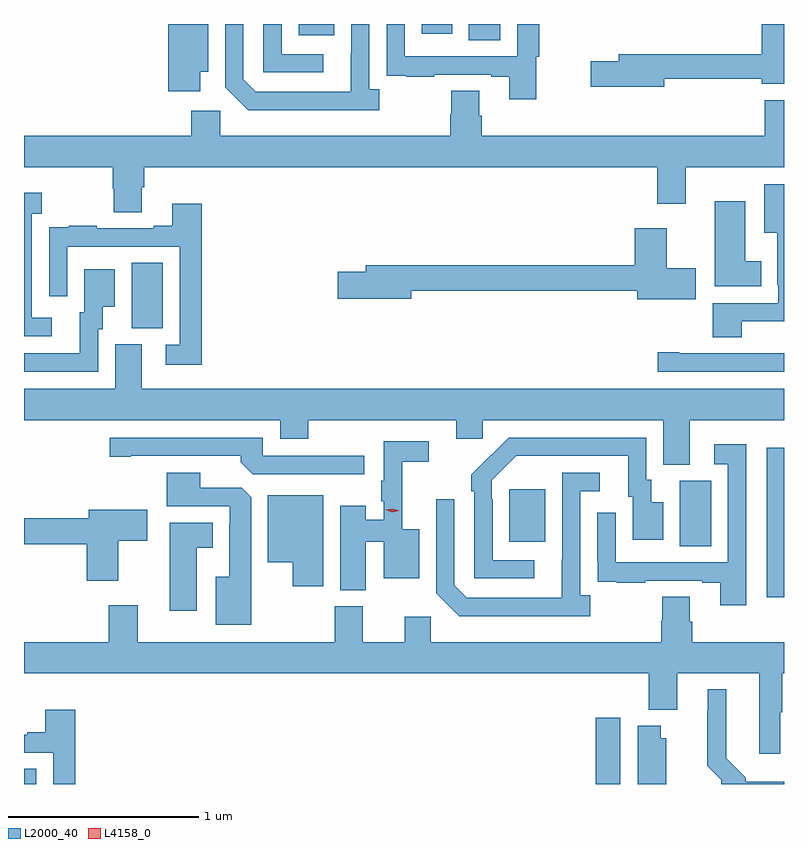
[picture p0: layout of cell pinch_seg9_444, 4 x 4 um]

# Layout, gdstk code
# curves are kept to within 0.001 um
import gdstk
lib = gdstk.Library(unit=1e-6, precision=1e-09)
def R(c, l, rs):  # rectangles x0, y0, x1, y1
    for r in rs: c.add(gdstk.rectangle(r[:2], r[2:], *l))
def P(c, l, *ps):  # polygons
    for p in ps: c.add(gdstk.Polygon(p, *l))
L2000_40 = (2000, 40)
L4158_0 = (4158, 0)

pinch_seg9_444 = lib.new_cell('pinch_seg9_444')
R(pinch_seg9_444, L2000_40, [(156.582,1198.501,156.646,1198.58), (159.59,1198.501,159.721,1198.849), (160.49,1199.484,160.582,1200.271), (160.034,1199.752,160.198,1200.096), (159.137,1199.777,159.325,1200.052), (157.148,1200.901,157.312,1201.244), (158.924,1202.416,159.088,1202.501), (158.027,1202.441,158.215,1202.501), (158.675,1202.451,158.836,1202.501)])
P(pinch_seg9_444, L2000_40, [(157.51,1202.249),(157.552,1202.249),(157.552,1202.501),(157.345,1202.501),(157.345,1202.496),(157.34,1202.496),(157.34,1202.148),(157.51,1202.148)],
  [(158.158,1202.343),(157.938,1202.343),(157.938,1202.501),(157.842,1202.501),(157.842,1202.247),(158.158,1202.247)],
  [(158.452,1202.158),(158.4,1202.158),(158.4,1202.501),(158.304,1202.501),(158.303,1202.145),(157.803,1202.145),(157.737,1202.211),(157.737,1202.501),(157.641,1202.501),(157.641,1202.169),(157.762,1202.048),(158.452,1202.048)],
  [(159.952,1202.214),(160.466,1202.214),(160.466,1202.186),(160.582,1202.186),(160.582,1202.501),(160.466,1202.501),(160.466,1202.342),(159.713,1202.342),(159.713,1202.306),(159.564,1202.306),(159.564,1202.171),(159.952,1202.171)],
  [(159.278,1202.328),(159.293,1202.328),(159.293,1202.501),(159.177,1202.501),(159.177,1202.331),(158.586,1202.331),(158.586,1202.501),(158.49,1202.501),(158.49,1202.338),(158.491,1202.338),(158.491,1202.229),(158.593,1202.229),(158.593,1202.223),(158.741,1202.223),(158.741,1202.235),(159.041,1202.235),(159.041,1202.223),(159.137,1202.223),(159.137,1202.106),(159.278,1202.106)],
  [(158.99,1202.018),(158.977,1202.018),(158.977,1202.15),(158.83,1202.15),(158.83,1202.025),(158.825,1202.025),(158.825,1201.912),(157.614,1201.912),(157.614,1202.044),(157.463,1202.044),(157.463,1201.912),(156.582,1201.912),(156.582,1201.748),(157.049,1201.748),(157.049,1201.635),(157.054,1201.635),(157.054,1201.51),(157.201,1201.51),(157.201,1201.642),(157.214,1201.642),(157.214,1201.748),(159.914,1201.748),(159.914,1201.554),(160.066,1201.554),(160.066,1201.748),(160.582,1201.748),(160.582,1202.101),(160.481,1202.101),(160.481,1201.912),(158.99,1201.912)],
  [(160.36,1200.936),(160.582,1200.936),(160.582,1201.657),(160.478,1201.657),(160.478,1201.403),(160.547,1201.403),(160.547,1201.129),(160.551,1201.129),(160.551,1201.032),(160.208,1201.032),(160.208,1200.853),(160.36,1200.853)],
  [(156.727,1200.954),(156.624,1200.954),(156.624,1201.502),(156.676,1201.502),(156.676,1201.612),(156.582,1201.612),(156.582,1200.858),(156.727,1200.858)],
  [(160.462,1201.252),(160.378,1201.252),(160.378,1201.567),(160.217,1201.567),(160.217,1201.121),(160.462,1201.121)],
  [(157.517,1201.555),(157.361,1201.555),(157.361,1201.438),(157.265,1201.438),(157.265,1201.425),(156.965,1201.425),(156.965,1201.438),(156.817,1201.438),(156.817,1201.431),(156.715,1201.431),(156.715,1201.322),(156.714,1201.322),(156.714,1201.068),(156.81,1201.068),(156.81,1201.329),(157.401,1201.329),(157.401,1200.813),(157.329,1200.813),(157.329,1200.708),(157.517,1200.708)],
  [(160.117,1201.215),(159.964,1201.215),(159.964,1201.426),(159.797,1201.426),(159.797,1201.232),(158.381,1201.232),(158.381,1201.196),(158.232,1201.196),(158.232,1201.054),(158.62,1201.054),(158.62,1201.096),(159.809,1201.096),(159.809,1201.052),(160.117,1201.052)],
  [(156.972,1200.894),(156.997,1200.894),(156.997,1201.013),(157.06,1201.013),(157.06,1201.21),(156.899,1201.21),(156.899,1200.984),(156.875,1200.984),(156.875,1200.768),(156.582,1200.768),(156.582,1200.672),(156.972,1200.672)],
  [(160.087,1200.416),(160.582,1200.416),(160.582,1200.58),(157.201,1200.58),(157.201,1200.816),(157.061,1200.816),(157.061,1200.58),(156.582,1200.58),(156.582,1200.416),(157.931,1200.416),(157.931,1200.317),(158.079,1200.317),(158.079,1200.416),(158.858,1200.416),(158.858,1200.318),(158.997,1200.318),(158.997,1200.416),(159.947,1200.416),(159.947,1200.181),(160.087,1200.181)],
  [(160.582,1200.768),(160.03,1200.768),(160.03,1200.773),(159.918,1200.773),(159.918,1200.672),(160.582,1200.672)],
  [(159.268,1199.679),(159.048,1199.679),(159.048,1199.999),(159.045,1199.999),(159.045,1200.099),(159.174,1200.228),(159.761,1200.228),(159.761,1200.012),(159.785,1200.012),(159.785,1199.787),(159.946,1199.787),(159.946,1199.983),(159.883,1199.983),(159.883,1200.102),(159.858,1200.102),(159.858,1200.324),(159.134,1200.324),(158.937,1200.129),(158.937,1200.041),(158.952,1200.041),(158.952,1199.583),(159.268,1199.583)],
  [(158.374,1200.228),(157.839,1200.228),(157.839,1200.324),(157.032,1200.324),(157.032,1200.223),(157.144,1200.223),(157.144,1200.228),(157.724,1200.228),(157.724,1200.194),(157.785,1200.132),(158.374,1200.132)],
  [(158.38,1199.776),(158.475,1199.776),(158.475,1199.585),(158.662,1199.585),(158.662,1199.842),(158.573,1199.842),(158.573,1200.198),(158.713,1200.198),(158.713,1200.306),(158.475,1200.306),(158.475,1200.096),(158.463,1200.096),(158.463,1199.989),(158.475,1199.989),(158.475,1199.893),(158.38,1199.893),(158.38,1199.965),(158.246,1199.965),(158.246,1199.521),(158.38,1199.521)],
  [(160.383,1200.289),(160.215,1200.289),(160.215,1200.183),(160.287,1200.183),(160.287,1199.667),(159.696,1199.667),(159.696,1199.929),(159.6,1199.929),(159.6,1199.674),(159.601,1199.674),(159.601,1199.565),(159.703,1199.565),(159.703,1199.559),(159.851,1199.559),(159.851,1199.571),(160.151,1199.571),(160.151,1199.559),(160.247,1199.559),(160.247,1199.442),(160.383,1199.442)],
  [(157.777,1200.011),(157.728,1200.06),(157.51,1200.06),(157.51,1200.139),(157.334,1200.139),(157.334,1199.964),(157.665,1199.964),(157.665,1199.867),(157.661,1199.867),(157.661,1199.593),(157.592,1199.593),(157.592,1199.339),(157.777,1199.339)],
  [(159.562,1199.494),(159.51,1199.494),(159.51,1200.042),(159.613,1200.042),(159.613,1200.138),(159.414,1200.138),(159.413,1199.481),(158.913,1199.481),(158.847,1199.547),(158.847,1200.001),(158.751,1200.001),(158.751,1199.505),(158.872,1199.384),(159.562,1199.384)],
  [(158.158,1200.022),(157.865,1200.022),(157.865,1199.669),(157.997,1199.669),(157.997,1199.541),(158.158,1199.541)],
  [(157.078,1199.782),(157.231,1199.782),(157.231,1199.944),(156.923,1199.944),(156.923,1199.9),(156.582,1199.9),(156.582,1199.764),(156.911,1199.764),(156.911,1199.571),(157.078,1199.571)],
  [(157.492,1199.744),(157.576,1199.744),(157.576,1199.875),(157.349,1199.875),(157.349,1199.412),(157.492,1199.412)],
  [(160.561,1198.879),(160.574,1198.879),(160.574,1199.084),(160.582,1199.084),(160.582,1199.248),(160.1,1199.248),(160.1,1199.354),(160.087,1199.354),(160.087,1199.486),(159.94,1199.486),(159.94,1199.361),(159.935,1199.361),(159.935,1199.248),(158.724,1199.248),(158.724,1199.38),(158.585,1199.38),(158.585,1199.248),(158.365,1199.248),(158.365,1199.436),(158.218,1199.436),(158.218,1199.248),(157.18,1199.248),(157.18,1199.443),(157.028,1199.443),(157.028,1199.248),(156.582,1199.248),(156.582,1199.084),(159.869,1199.084),(159.869,1198.892),(160.021,1198.892),(160.021,1199.084),(160.451,1199.084),(160.451,1198.659),(160.561,1198.659)],
  [(160.582,1198.513),(160.38,1198.513),(160.38,1198.534),(160.279,1198.636),(160.279,1198.999),(160.181,1198.999),(160.181,1198.889),(160.177,1198.889),(160.177,1198.598),(160.251,1198.524),(160.251,1198.501),(160.582,1198.501)],
  [(156.851,1198.891),(156.695,1198.891),(156.695,1198.774),(156.599,1198.774),(156.599,1198.761),(156.582,1198.761),(156.582,1198.665),(156.735,1198.665),(156.735,1198.501),(156.851,1198.501)],
  [(159.961,1198.743),(159.934,1198.743),(159.934,1198.807),(159.812,1198.807),(159.812,1198.501),(159.961,1198.501)])
P(pinch_seg9_444, L4158_0, [(158.521,1199.931),(158.486,1199.944),(158.486,1199.944),(158.486,1199.944),(158.522,1199.951),(158.556,1199.939),(158.557,1199.938),(158.556,1199.938)])

lib.write_gds('pinch_seg9_444.gds')
